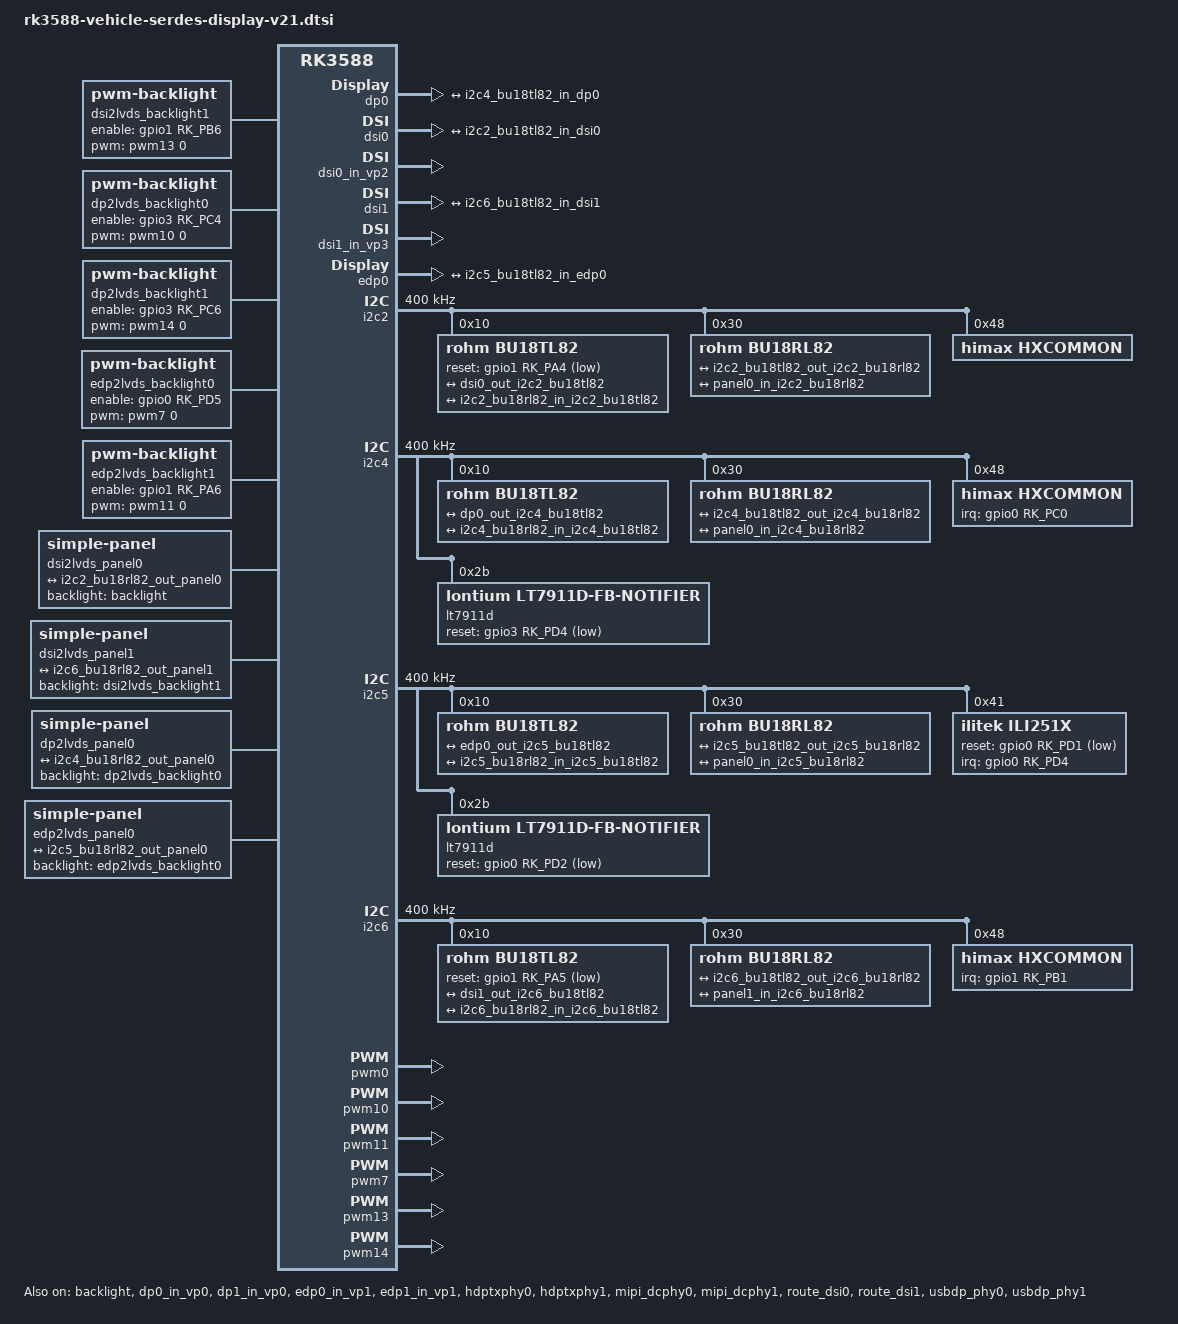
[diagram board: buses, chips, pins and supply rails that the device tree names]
// SPDX-License-Identifier: (GPL-2.0+ OR MIT)
/*
 * Copyright (c) 2023 Rockchip Electronics Co., Ltd.
 *
 */

/ {
	dsi2lvds_backlight1: dsi2lvds_backlight1 {
		compatible = "pwm-backlight";
		brightness-levels = <
			  0  20  20  21  21  22  22  23
			 23  24  24  25  25  26  26  27
			 27  28  28  29  29  30  30  31
			 31  32  32  33  33  34  34  35
			 35  36  36  37  37  38  38  39
			 40  41  42  43  44  45  46  47
			 48  49  50  51  52  53  54  55
			 56  57  58  59  60  61  62  63
			 64  65  66  67  68  69  70  71
			 72  73  74  75  76  77  78  79
			 80  81  82  83  84  85  86  87
			 88  89  90  91  92  93  94  95
			 96  97  98  99 100 101 102 103
			104 105 106 107 108 109 110 111
			112 113 114 115 116 117 118 119
			120 121 122 123 124 125 126 127
			128 129 130 131 132 133 134 135
			136 137 138 139 140 141 142 143
			144 145 146 147 148 149 150 151
			152 153 154 155 156 157 158 159
			160 161 162 163 164 165 166 167
			168 169 170 171 172 173 174 175
			176 177 178 179 180 181 182 183
			184 185 186 187 188 189 190 191
			192 193 194 195 196 197 198 199
			200 201 202 203 204 205 206 207
			208 209 210 211 212 213 214 215
			216 217 218 219 220 221 222 223
			224 225 226 227 228 229 230 231
			232 233 234 235 236 237 238 239
			240 241 242 243 244 245 246 247
			248 249 250 251 252 253 254 255
		>;
		default-brightness-level = <200>;
	};

	dp2lvds_backlight0: dp2lvds_backlight0 {
		compatible = "pwm-backlight";
		brightness-levels = <
			  0  20  20  21  21  22  22  23
			 23  24  24  25  25  26  26  27
			 27  28  28  29  29  30  30  31
			 31  32  32  33  33  34  34  35
			 35  36  36  37  37  38  38  39
			 40  41  42  43  44  45  46  47
			 48  49  50  51  52  53  54  55
			 56  57  58  59  60  61  62  63
			 64  65  66  67  68  69  70  71
			 72  73  74  75  76  77  78  79
			 80  81  82  83  84  85  86  87
			 88  89  90  91  92  93  94  95
			 96  97  98  99 100 101 102 103
			104 105 106 107 108 109 110 111
			112 113 114 115 116 117 118 119
			120 121 122 123 124 125 126 127
			128 129 130 131 132 133 134 135
			136 137 138 139 140 141 142 143
			144 145 146 147 148 149 150 151
			152 153 154 155 156 157 158 159
			160 161 162 163 164 165 166 167
			168 169 170 171 172 173 174 175
			176 177 178 179 180 181 182 183
			184 185 186 187 188 189 190 191
			192 193 194 195 196 197 198 199
			200 201 202 203 204 205 206 207
			208 209 210 211 212 213 214 215
			216 217 218 219 220 221 222 223
			224 225 226 227 228 229 230 231
			232 233 234 235 236 237 238 239
			240 241 242 243 244 245 246 247
			248 249 250 251 252 253 254 255
		>;
		default-brightness-level = <200>;
	};

	dp2lvds_backlight1: dp2lvds_backlight1 {
		compatible = "pwm-backlight";
		brightness-levels = <
			  0  20  20  21  21  22  22  23
			 23  24  24  25  25  26  26  27
			 27  28  28  29  29  30  30  31
			 31  32  32  33  33  34  34  35
			 35  36  36  37  37  38  38  39
			 40  41  42  43  44  45  46  47
			 48  49  50  51  52  53  54  55
			 56  57  58  59  60  61  62  63
			 64  65  66  67  68  69  70  71
			 72  73  74  75  76  77  78  79
			 80  81  82  83  84  85  86  87
			 88  89  90  91  92  93  94  95
			 96  97  98  99 100 101 102 103
			104 105 106 107 108 109 110 111
			112 113 114 115 116 117 118 119
			120 121 122 123 124 125 126 127
			128 129 130 131 132 133 134 135
			136 137 138 139 140 141 142 143
			144 145 146 147 148 149 150 151
			152 153 154 155 156 157 158 159
			160 161 162 163 164 165 166 167
			168 169 170 171 172 173 174 175
			176 177 178 179 180 181 182 183
			184 185 186 187 188 189 190 191
			192 193 194 195 196 197 198 199
			200 201 202 203 204 205 206 207
			208 209 210 211 212 213 214 215
			216 217 218 219 220 221 222 223
			224 225 226 227 228 229 230 231
			232 233 234 235 236 237 238 239
			240 241 242 243 244 245 246 247
			248 249 250 251 252 253 254 255
		>;
		default-brightness-level = <200>;
	};

	edp2lvds_backlight0: edp2lvds_backlight0 {
		compatible = "pwm-backlight";
		brightness-levels = <
			  0  20  20  21  21  22  22  23
			 23  24  24  25  25  26  26  27
			 27  28  28  29  29  30  30  31
			 31  32  32  33  33  34  34  35
			 35  36  36  37  37  38  38  39
			 40  41  42  43  44  45  46  47
			 48  49  50  51  52  53  54  55
			 56  57  58  59  60  61  62  63
			 64  65  66  67  68  69  70  71
			 72  73  74  75  76  77  78  79
			 80  81  82  83  84  85  86  87
			 88  89  90  91  92  93  94  95
			 96  97  98  99 100 101 102 103
			104 105 106 107 108 109 110 111
			112 113 114 115 116 117 118 119
			120 121 122 123 124 125 126 127
			128 129 130 131 132 133 134 135
			136 137 138 139 140 141 142 143
			144 145 146 147 148 149 150 151
			152 153 154 155 156 157 158 159
			160 161 162 163 164 165 166 167
			168 169 170 171 172 173 174 175
			176 177 178 179 180 181 182 183
			184 185 186 187 188 189 190 191
			192 193 194 195 196 197 198 199
			200 201 202 203 204 205 206 207
			208 209 210 211 212 213 214 215
			216 217 218 219 220 221 222 223
			224 225 226 227 228 229 230 231
			232 233 234 235 236 237 238 239
			240 241 242 243 244 245 246 247
			248 249 250 251 252 253 254 255
		>;
		default-brightness-level = <200>;
	};

	edp2lvds_backlight1: edp2lvds_backlight1 {
		compatible = "pwm-backlight";
		brightness-levels = <
			  0  20  20  21  21  22  22  23
			 23  24  24  25  25  26  26  27
			 27  28  28  29  29  30  30  31
			 31  32  32  33  33  34  34  35
			 35  36  36  37  37  38  38  39
			 40  41  42  43  44  45  46  47
			 48  49  50  51  52  53  54  55
			 56  57  58  59  60  61  62  63
			 64  65  66  67  68  69  70  71
			 72  73  74  75  76  77  78  79
			 80  81  82  83  84  85  86  87
			 88  89  90  91  92  93  94  95
			 96  97  98  99 100 101 102 103
			104 105 106 107 108 109 110 111
			112 113 114 115 116 117 118 119
			120 121 122 123 124 125 126 127
			128 129 130 131 132 133 134 135
			136 137 138 139 140 141 142 143
			144 145 146 147 148 149 150 151
			152 153 154 155 156 157 158 159
			160 161 162 163 164 165 166 167
			168 169 170 171 172 173 174 175
			176 177 178 179 180 181 182 183
			184 185 186 187 188 189 190 191
			192 193 194 195 196 197 198 199
			200 201 202 203 204 205 206 207
			208 209 210 211 212 213 214 215
			216 217 218 219 220 221 222 223
			224 225 226 227 228 229 230 231
			232 233 234 235 236 237 238 239
			240 241 242 243 244 245 246 247
			248 249 250 251 252 253 254 255
		>;
		default-brightness-level = <200>;
	};

	dsi2lvds_panel0 {
		compatible = "simple-panel";
		backlight = <&backlight>;

		display-timings {
			native-mode = <&dsi2lvds0>;
			dsi2lvds0: timing0 {
				clock-frequency = <115200000>;//115200000/105573600
				hactive = <1920>;
				vactive = <720>;
				hfront-porch = <56>;
				hsync-len = <32>;
				hback-porch = <56>;
				vfront-porch = <200>;
				vsync-len = <2>;
				vback-porch = <8>;
				hsync-active = <0>;
				vsync-active = <0>;
				de-active = <0>;
				pixelclk-active = <0>;
			};
		};

		ports {
			#address-cells = <1>;
			#size-cells = <0>;

			port@0 {
				reg = <0>;
				panel0_in_i2c2_bu18rl82: endpoint {
					remote-endpoint = <&i2c2_bu18rl82_out_panel0>;
				};
			};
		};
	};

	dsi2lvds_panel1 {
		compatible = "simple-panel";
		backlight = <&dsi2lvds_backlight1>;

		display-timings {
			native-mode = <&dsi2lvds1>;
			dsi2lvds1: timing0 {
				clock-frequency = <115200000>;
				hactive = <1920>;
				vactive = <720>;
				hfront-porch = <56>;
				hsync-len = <32>;
				hback-porch = <56>;
				vfront-porch = <200>;
				vsync-len = <2>;
				vback-porch = <8>;
				hsync-active = <0>;
				vsync-active = <0>;
				de-active = <0>;
				pixelclk-active = <0>;
			};
		};

		ports {
			#address-cells = <1>;
			#size-cells = <0>;

			port@0 {
				reg = <0>;
				panel1_in_i2c6_bu18rl82: endpoint {
					remote-endpoint = <&i2c6_bu18rl82_out_panel1>;
				};
			};
		};
	};

	dp2lvds_panel0 {
		compatible = "simple-panel";
		backlight = <&dp2lvds_backlight0>;
		status = "okay";

		panel-timing {
			clock-frequency = <115200000>;
			hactive = <1920>;
			vactive = <720>;
			hfront-porch = <56>;
			hsync-len = <32>;
			hback-porch = <56>;
			vfront-porch = <200>;
			vsync-len = <2>;
			vback-porch = <8>;
			hsync-active = <0>;
			vsync-active = <0>;
			de-active = <0>;
			pixelclk-active = <0>;
		};

		port {
			panel0_in_i2c4_bu18rl82: endpoint {
				remote-endpoint = <&i2c4_bu18rl82_out_panel0>;
			};
		};
	};

	dp2lvds_panel1 {
		compatible = "simple-panel";
		backlight = <&dp2lvds_backlight1>;
		status = "disabled";

		panel-timing {
			clock-frequency = <148500000>;
			hactive = <1920>;
			vactive = <1080>;
			hfront-porch = <140>;
			hsync-len = <40>;
			hback-porch = <100>;
			vfront-porch = <15>;
			vsync-len = <20>;
			vback-porch = <10>;
			hsync-active = <0>;
			vsync-active = <0>;
			de-active = <0>;
			pixelclk-active = <0>;
		};

		port {
			panel1_in_i2c8_bu18rl82: endpoint {
				remote-endpoint = <&i2c8_bu18rl82_out_panel1>;
			};
		};
	};

	edp2lvds_panel0 {
		compatible = "simple-panel";
		backlight = <&edp2lvds_backlight0>;
		status = "okay";

		panel-timing {
			clock-frequency = <148500000>;
			hactive = <1920>;
			vactive = <1080>;
			hfront-porch = <140>;
			hsync-len = <40>;
			hback-porch = <100>;
			vfront-porch = <15>;
			vsync-len = <20>;
			vback-porch = <10>;
			hsync-active = <0>;
			vsync-active = <0>;
			de-active = <0>;
			pixelclk-active = <0>;
		};

		port {
			panel0_in_i2c5_bu18rl82: endpoint {
				remote-endpoint = <&i2c5_bu18rl82_out_panel0>;
			};
		};
	};

	edp2lvds_panel1 {
		compatible = "simple-panel";
		backlight = <&edp2lvds_backlight1>;
		status = "disabled";

		panel-timing {
			clock-frequency = <148500000>;
			hactive = <1920>;
			vactive = <1080>;
			hfront-porch = <140>;
			hsync-len = <40>;
			hback-porch = <100>;
			vfront-porch = <15>;
			vsync-len = <20>;
			vback-porch = <10>;
			hsync-active = <0>;
			vsync-active = <0>;
			de-active = <0>;
			pixelclk-active = <0>;
		};

		port {
			panel1_in_i2c7_bu18rl82: endpoint {
				remote-endpoint = <&i2c7_bu18rl82_out_panel1>;
			};
		};
	};
};

&backlight {
	pwms = <&pwm0 0 25000 0>;
	pinctrl-names = "default";
	pinctrl-0 = <&bl0_enable_pin>;
	enable-gpios = <&gpio1 RK_PA7 GPIO_ACTIVE_HIGH>;
	status = "okay";
};

&dsi2lvds_backlight1 {
	pwms = <&pwm13 0 25000 0>;
	pinctrl-names = "default";
	pinctrl-0 = <&bl1_enable_pin>;
	enable-gpios = <&gpio1 RK_PB6 GPIO_ACTIVE_HIGH>;
	status = "okay";
};

&dp0 {
	//split-mode;
	force-hpd;
	status = "okay";

	ports {
		port@1 {
			reg = <1>;

			dp0_out_i2c4_bu18tl82: endpoint {
				remote-endpoint = <&i2c4_bu18tl82_in_dp0>;
			};
		};
	};
};

&dp0_in_vp0 {
	status = "okay";
};

&dp0_in_vp1 {
	status = "disabled";
};

&dp0_in_vp2 {
	status = "disabled";
};

&dp1 {
	force-hpd;
	status = "disabled";

	ports {
		port@1 {
			reg = <1>;

			dp1_out_i2c8_bu18tl82: endpoint {
				remote-endpoint = <&i2c8_bu18tl82_in_dp1>;
			};
		};
	};
};

&dp1_in_vp0 {
	status = "okay";
};

&dp1_in_vp1 {
	status = "disabled";
};

&dp1_in_vp2 {
	status = "disabled";
};

&dp2lvds_backlight0 {
	pwms = <&pwm10 0 25000 0>;
	pinctrl-names = "default";
	pinctrl-0 = <&bl2_enable_pin>;
	enable-gpios = <&gpio3 RK_PC4 GPIO_ACTIVE_HIGH>;
	status = "okay";
};

&dp2lvds_backlight1 {
	pwms = <&pwm14 0 25000 0>;
	pinctrl-names = "default";
	pinctrl-0 = <&bl3_enable_pin>;
	enable-gpios = <&gpio3 RK_PC6 GPIO_ACTIVE_HIGH>;
	status = "okay";
};

/*
 * mipi_dcphy0 needs to be enabled
 * when dsi0 is enabled
 */
&dsi0 {
	status = "okay";

	ports {
		#address-cells = <1>;
		#size-cells = <0>;

		port@1 {
			reg = <1>;

			dsi0_out_i2c2_bu18tl82: endpoint {
				remote-endpoint = <&i2c2_bu18tl82_in_dsi0>;
			};
		};
	};
};

&dsi0_in_vp2 {
	status = "okay";
};

&dsi0_in_vp3 {
	status = "disabled";
};

/*
 * mipi_dcphy1 needs to be enabled
 * when dsi1 is enabled
 */
&dsi1 {
	status = "okay";

	ports {
		#address-cells = <1>;
		#size-cells = <0>;

		port@1 {
			reg = <1>;

			dsi1_out_i2c6_bu18tl82: endpoint {
				remote-endpoint = <&i2c6_bu18tl82_in_dsi1>;
			};
		};
	};
};

&dsi1_in_vp2 {
	status = "disabled";
};

&dsi1_in_vp3 {
	status = "okay";
};

&edp0 {
	//split-mode;
	force-hpd;
	status = "okay";

	ports {
		port@1 {
			reg = <1>;

			edp0_out_i2c5_bu18tl82: endpoint {
				remote-endpoint = <&i2c5_bu18tl82_in_edp0>;
			};
		};
	};
};

&edp0_in_vp0 {
	status = "disabled";
};

&edp0_in_vp1 {
	status = "okay";
};

&edp0_in_vp2 {
	status = "disabled";
};

&edp1 {
	force-hpd;
	status = "disabled";

	ports {
		port@1 {
			reg = <1>;

			edp1_out_i2c7_bu18tl82: endpoint {
				remote-endpoint = <&i2c7_bu18tl82_in_edp1>;
			};
		};
	};
};

&edp1_in_vp0 {
	status = "disabled";
};

&edp1_in_vp1 {
	status = "okay";
};

&edp1_in_vp2 {
	status = "disabled";
};

&edp2lvds_backlight0 {
	pwms = <&pwm7 0 25000 0>;
	pinctrl-names = "default";
	pinctrl-0 = <&bl4_enable_pin>;
	enable-gpios = <&gpio0 RK_PD5 GPIO_ACTIVE_HIGH>;
	status = "okay";
};

&edp2lvds_backlight1 {
	pwms = <&pwm11 0 25000 0>;
	pinctrl-names = "default";
	pinctrl-0 = <&bl5_enable_pin>;
	enable-gpios = <&gpio1 RK_PA6 GPIO_ACTIVE_HIGH>;
	status = "okay";
};

&hdmi0 {
	status = "disabled";
};

&hdmi1 {
	status = "disabled";
};

&hdptxphy0 {
	status = "okay";
};

&hdptxphy1 {
	status = "okay";
};

&hdptxphy_hdmi0 {
	status = "disabled";
};

&hdptxphy_hdmi1 {
	status = "disabled";
};

&i2c2 {
	status = "okay";
	pinctrl-names = "default";
	pinctrl-0 = <&i2c2m4_xfer>;
	clock-frequency = <400000>;

	bu18tl82: bu18tl82@10 {
		compatible = "rohm,bu18tl82";
		reg = <0x10>;
		pinctrl-names = "default";
		pinctrl-0 = <&ser0_rst_pin>;
		reset-gpios = <&gpio1 RK_PA4 GPIO_ACTIVE_LOW>;
		sel-mipi;
		status = "okay";

		serdes-init-sequence = [
			0013 0019
			0014 0008	//014h[3]-lane1 enable
			0021 0008
			0023 0009
			0024 0009
			022b 0038
			022c 0072
			022d 0023	//VPLL=75MHZS
			//022b 00d8
			//022c 0089
			//022d 003d	//VPLL=99MHz (ref26MHz) 4032984*26/1024x1024=99M
			022e 0080
			027c 0048
			027d 0048	//i2c addr 0x48
			0296 0004
			0297 0009	//CLLTX0_PLL_GAIN 297h[3:2] 1001 2'b10: 1.2~2.3 Gbps/lane
			//0297 000d	//CLLTX0_PLL_GAIN 297h[3:2] 1101 2'b11: 2.2~3.6 Gbps/lane
			0018 00a5
			0019 0069
			0267 003d
			0268 002c
			0269 002c
			026a 002c
			026b 002c
			0367 003d
			0368 002c
			0369 002c
			036a 002c
			036b 002c
			0018 0000
			0019 0000
			002a 0018	//gpio0 input		lcd_bl_pwm
			002d 0018	//gpio1 input		lcd_pwr_en

			0030 0018	//gpio2 input		lcd_rst
			0033 0018	//gpio3 input		tp_rst
			0034 0005	//bypass des gpio3
			0036 0000	//gpio4 output		tp_int
			0037 0006	//bypass des gpio4

			02a7 0002
			02a8 0003
			02a9 0004
			02aa 0005
			0045 0080
			0046 0007	//1920
			004b 00d0
			004c 0002	//720
			004d 00d0
			004e 0002	//720
			0051 0080
			0052 0007	//1920
			0053 0024	//CLLCH2_EN 53h[5] 0:1 Clock Tx lane/1:2 Clock Tx lanes
			0054 0080
			024d 0061
			0252 0005
			0274 0030	//I2C slave address of BU18RL82 for accessing via BU18TL82
			0275 0020
			0396 0004
			0397 0009	//CLLTX0_PLL_GAIN 397h[3:2] 1001 2'b10: 1.2~2.31 Gbps/lane
			//0397 000d	//CLLTX0_PLL_GAIN 397h[3:2] 1101 2'b11: 2.2~3.60 Gbps/lane
			0061 0003	//CLLTX0 enable CLLTX1 enable
			0060 0003	//CLLTX0/1 RGB data output Enable
			/* TL82 Pattern Gen Set 1
			 * Horizontal Gray Scale 256 steps
			 */
			040A 0010
			040B 0080
			040C 0080
			040D 0080
			0444 0090
			0446 00d2
		];

		ports {
			#address-cells = <1>;
			#size-cells = <0>;

			port@0 {
				reg = <0>;

				i2c2_bu18tl82_in_dsi0: endpoint {
					remote-endpoint = <&dsi0_out_i2c2_bu18tl82>;
				};
			};

			port@1 {
				reg = <1>;

				i2c2_bu18tl82_out_i2c2_bu18rl82: endpoint {
					remote-endpoint = <&i2c2_bu18rl82_in_i2c2_bu18tl82>;
				};
			};
		};
	};

	bu18rl82: bu18rl82@30 {
		compatible = "rohm,bu18rl82";
		reg = <0x30>;
		status = "okay";
		serdes-init-sequence = [
			0011 0003	//Clockless Link Receiver Lane-0+ LVDS portA
			0012 0003	//Clockless Link Receiver Lane-1+ LVDS portB
			0013 0000
			001d 0008
			001f 0002	//LVDSTX0_REFSEL
			0020 0002	//LVDSTX1_REFSEL
			0031 0048
			0032 0048	//i2c addr 0x48
			0423 0000
			0424 0000
			0425 0020
			0426 0080
			0057 0000
			0058 0002
			0057 0000	//rl gpio0 output	lcd_bl_pwm
			0058 0002	//bypass ser gpio0
			005a 0000	//rl gpio1 output	lcd_pwr_en
			005b 0003	//bypass ser gpio1
			005d 0000	//rl gpio2 output	lcd_rst
			005e 0004	//bypass ser gpio2
			0060 0000	//rl gpio3 output	tp-rst
			0061 0005	//bypass ser gpio3
			0063 0018	//rl gpio4 input	tp-int
			0064 0006	//bypass ser gpio4
			0066 0000	//rl gpio5 output
			0067 0001	//set gpio5 high

			0073 0080
			0074 0007	//0x0780 = 1920
			0075 0080
			0076 0007	//0x0780 = 1920
			0079 000a	//h[3]: dual lvds mode h[1] single lane / dual lane
			007b 00d0
			007c 0002	//0x02d0 = 720
			007d 00d0
			007e 0002	//0x02d0 = 720
			0081 0003	//01---> Sync OFF
			0082 0010	//Hsync=16clk
			0084 001c	//HBP=28clk
			0086 0002	//Vsync=2lines
			0087 0008	//VBP=8lines
			0088 0000	//VSYNC_CHG=0CLK
			0089 0010	//Hsync = 16?
			008b 001c	//HFP=28clk?
			008d 0002	//Vsync=2lines?
			008e 0008	//VFP=8line?
			008f 0000	//VSYNC_CHG=0CLK?
			00d0 0040	//[3]FixHtotalEN
			00d8 00c0
			00d9 0003	//DE=960
			0429 000a	//LVDSTX0_PLLGAIN 2'b10: 30 MHz ~ 80 MHz
			045d 0001
			0529 000a	//LVDSTX1_PLLGAIN 2'b10: 30 MHz ~ 80 MHz
			055d 0001
			0091 0003
			0090 0001
			/* RL82 Pattern Gen Set
			 * Vertical Gray Scale Color Bar
			 */
			060A 00B0
			060B 00FF
			060C 00FF
			060D 00FF
			0644 0090
			0646 00d2
		];

		ports {
			#address-cells = <1>;
			#size-cells = <0>;

			port@0 {
				reg = <0>;

				i2c2_bu18rl82_in_i2c2_bu18tl82: endpoint {
					remote-endpoint = <&i2c2_bu18tl82_out_i2c2_bu18rl82>;
				};
			};

			port@1 {
				reg = <1>;

				i2c2_bu18rl82_out_panel0: endpoint {
					remote-endpoint = <&panel0_in_i2c2_bu18rl82>;
				};
			};
		};
	};

	himax@48 {
		compatible = "himax,hxcommon";
		reg = <0x48>;
		pinctrl-names = "default", "sleep";
		pinctrl-0 = <&touch_gpio_dsi0>;
		pinctrl-1 = <&touch_gpio_dsi0>;
		himax,location = "himax-touch-dsi0";
		//himax,irq-gpio = <&gpio1 RK_PB0 IRQ_TYPE_EDGE_FALLING>;
		himax,panel-coords = <0 1920 0 720>;
		himax,display-coords = <0 1920 0 720>;
		status = "okay";
	};
};

&i2c4 {
	pinctrl-names = "default";
	pinctrl-0 = <&i2c4m2_xfer>;
	clock-frequency = <400000>;
	status = "okay";

	bu18tl82@10 {
		compatible = "rohm,bu18tl82";
		reg = <0x10>;
		status = "okay";

		serdes-init-sequence = [
			0013 001a	//013h[3]1-lane1 enable 013h[3] 1-LVDS Receiver Port-A
			0014 000a	//014h[3]1-lane1 enable 014h[3] 1-LVDS Receiver Port-B
			0021 0008
			0023 0009
			0024 0009
			022b 0038
			022c 0072
			022d 0023	//VPLL=75MHZS
			//022b 00d8
			//022c 0089
			//022d 003d	//VPLL=99MHz (ref26MHz) 4032984*26/1024x1024=99M
			022e 0080
			027c 0048
			027d 0048	//i2c addr 0x48
			0296 0004
			0297 0009	//CLLTX0_PLL_GAIN 397h[3:2] 1001 2'b10: 1.2~2.31 Gbps/lane
			//0297 000d	//CLLTX0_PLL_GAIN 297h[3:2] 1101 2'b11: 2.2~3.60 Gbps/lane
			0018 00a5
			0019 0069
			0267 003d
			0268 002c
			0269 002c
			026a 002c
			026b 002c
			0367 003d
			0368 002c
			0369 002c
			036a 002c
			036b 002c
			0018 0000
			0019 0000
			002a 0018	//gpio0 input		lcd_bl_pwm
			002d 0018	//gpio1 input		lcd_pwr_en

			0030 0018	//gpio2 input		lcd_rst
			0033 0018	//gpio3 input		tp_rst
			0034 0005	//bypass des gpio3
			0036 0000	//gpio4 output		tp_int
			0037 0006	//bypass des gpio4

			02a7 0002
			02a8 0003
			02a9 0004
			02aa 0005
			0045 0080
			0046 0007	//1920
			004b 00d0
			004c 0002	//720
			004d 00d0
			004e 0002	//720
			0051 0080
			0052 0007	//1920
			0053 0064	//0053h[6]1:2 Rx ports CLLCH2_EN 53h[5] 1:2 Clock Tx lanes
			024d 0061
			0252 0005
			0274 0030
			0275 0020
			0396 0004
			0397 0009	//CLLTX0_PLL_GAIN 397h[3:2] 1001 2'b10: 1.2~2.3 Gbps/lane
			//0397 000d	//CLLTX0_PLL_GAIN 397h[3:2] 1101 2'b11: 2.2~3.6 Gbps/lane
			0061 0003	//CLLTX0 enable CLLTX1 enable
			0060 0003	//CLLTX0/1 RGB data output Enable
			/* TL82 Pattern Gen Set 1
			 * Horizontal Gray Scale 256 steps
			 */
			040A 0010
			040B 0080
			040C 0080
			040D 0080
			0444 0090	//h_blank=144
			0446 00d2	//v_blank=210
		];

		ports {
			#address-cells = <1>;
			#size-cells = <0>;

			port@0 {
				reg = <0>;

				i2c4_bu18tl82_in_dp0: endpoint {
					remote-endpoint = <&dp0_out_i2c4_bu18tl82>;
				};
			};

			port@1 {
				reg = <1>;

				i2c4_bu18tl82_out_i2c4_bu18rl82: endpoint {
					remote-endpoint = <&i2c4_bu18rl82_in_i2c4_bu18tl82>;
				};
			};
		};
	};

	bu18rl82@30 {
		compatible = "rohm,bu18rl82";
		reg = <0x30>;
		status = "okay";
		serdes-init-sequence = [
			0011 0003	//Clockless Link Receiver Lane-0+ LVDS portA
			0012 0003	//Clockless Link Receiver Lane-1+ LVDS portB
			0013 0000
			001d 0008
			001f 0002	//LVDSTX0_REFSEL
			0020 0002	//LVDSTX1_REFSEL
			0031 0048
			0032 0048	//i2c addr 0x48
			0423 0000
			0424 0000
			0425 0020
			0426 0080
			0057 0000
			0058 0002
			0057 0000	//rl gpio0 output	lcd_bl_pwm
			0058 0002	//bypass ser gpio0
			005a 0000	//rl gpio1 output	lcd_pwr_en
			005b 0003	//bypass ser gpio1
			005d 0000	//rl gpio2 output	lcd_rst
			005e 0004	//bypass ser gpio2
			0060 0000	//rl gpio3 output	tp-rst
			0061 0005	//bypass ser gpio3
			0063 0018	//rl gpio4 input	tp-int
			0064 0006	//bypass ser gpio4
			0066 0000	//rl gpio5 output
			0067 0001	//set gpio5 high

			0073 0080
			0074 0007	//0x0780 = 1920
			0075 0080
			0076 0007	//0x0780 = 1920
			0079 000a	//h[3]: dual lvds mode h[1] single lane / dual lane
			007b 00d0
			007c 0002	//0x02d0 = 720
			007d 00d0
			007e 0002	//0x02d0 = 720
			0081 0003	//01---> Sync OFF
			0082 0010	//Hsync=16clk
			0084 001c	//HBP=28clk
			0086 0002	//Vsync=2lines
			0087 0008	//VBP=8lines
			0088 0000	//VSYNC_CHG=0CLK
			0089 0010	//Hsync = 16?
			008b 001c	//HFP=28clk?
			008d 0002	//Vsync=2lines?
			008e 0008	//VFP=8line?
			008f 0000	//VSYNC_CHG=0CLK?
			00d0 0040	//[3]FixHtotalEN
			00d8 00c0
			00d9 0003	//DE=960
			0429 000a	//LVDSTX0_PLLGAIN 2'b10: 30 MHz ~ 80 MHz
			045d 0001
			0529 000a	//LVDSTX1_PLLGAIN 2'b10: 30 MHz ~ 80 MHz
			055d 0001
			0091 0003
			0090 0001
			/* RL82 Pattern Gen Set
			 * Vertical Gray Scale Color Bar
			 */
			060A 00B0
			060B 00FF
			060C 00FF
			060D 00FF
			0644 0090
			0646 00d2
		];

		ports {
			#address-cells = <1>;
			#size-cells = <0>;

			port@0 {
				reg = <0>;

				i2c4_bu18rl82_in_i2c4_bu18tl82: endpoint {
					remote-endpoint = <&i2c4_bu18tl82_out_i2c4_bu18rl82>;
				};
			};

			port@1 {
				reg = <1>;

				i2c4_bu18rl82_out_panel0: endpoint {
					remote-endpoint = <&panel0_in_i2c4_bu18rl82>;
				};
			};
		};
	};

	himax@48 {
		compatible = "himax,hxcommon";
		reg = <0x48>;
		pinctrl-names = "default", "sleep";
		pinctrl-0 = <&touch_gpio_dp0>;
		pinctrl-1 = <&touch_gpio_dp0>;
		himax,location = "himax-touch-dp0";
		himax,irq-gpio = <&gpio0 RK_PC0 IRQ_TYPE_EDGE_FALLING>;
		himax,panel-coords = <0 1920 0 720>;
		himax,display-coords = <0 1920 0 720>;
		status = "okay";
	};

	lt7911d@2b {
		compatible = "lontium,lt7911d-fb-notifier";
		reg = <0x2b>;
		reset-gpios = <&gpio3 RK_PD4 GPIO_ACTIVE_LOW>;
		status = "okay";
	};
};

&i2c5 {
	clock-frequency = <400000>;
	status = "okay";

	bu18tl82@10 {
		compatible = "rohm,bu18tl82";
		reg = <0x10>;
		status = "okay";

		serdes-init-sequence = [
			0013 001a
			0014 000a
			0021 0008
			0023 0009
			0024 0009
			002a 0018	//gpio0 input		lcd_bl_pwm
			002d 0018	//gpio1 input		lcd_pwr_en

			0030 0018	//gpio2 input		lcd_rst
			0033 0000	//gpio3 output		tp_int
			0034 0005	//bypass des gpio3
			0036 0018	//gpio4 input		tp_rst
			0037 0006	//bypass des gpio4
			027c 0041
			027d 0041
			0045 0080
			0046 0007
			004b 0038
			004c 0004
			0053 0064
			022b 0062
			022c 0027
			022d 002e
			0274 0030
			0275 0020
			0296 0004
			0297 000d
			02b2 00c8
			02b4 0001
			02b8 00ff
			02b9 000f
			02ba 00ff
			02bb 000f
			02be 00ff
			02bf 001f
			02c2 00ff
			02c3 001f
			0396 0004
			0397 000d
			03b2 00c8
			03b4 0001
			03b8 00ff
			03b9 000f
			03ba 00ff
			03bb 000f
			03be 00ff
			03bf 001f
			03c2 00ff
			03c3 001f
			0060 0001
			0061 0003
			022e 0080
			032e 0080
			/* TL82 Pattern Gen Set 1
			 * Horizontal Gray Scale 256 steps
			 */
			040A 0010
			040B 0080
			040C 0080
			040D 0080
			0444 0019
			0445 0020
			0446 001f
		];

		ports {
			#address-cells = <1>;
			#size-cells = <0>;

			port@0 {
				reg = <0>;

				i2c5_bu18tl82_in_edp0: endpoint {
					remote-endpoint = <&edp0_out_i2c5_bu18tl82>;
				};
			};

			port@1 {
				reg = <1>;

				i2c5_bu18tl82_out_i2c5_bu18rl82: endpoint {
					remote-endpoint = <&i2c5_bu18rl82_in_i2c5_bu18tl82>;
				};
			};
		};
	};

	bu18rl82@30 {
		compatible = "rohm,bu18rl82";
		reg = <0x30>;
		status = "okay";
		serdes-init-sequence = [
			0011 000b
			0012 0003
			0013 0001
			001d 0008
			001f 0002
			0020 0002
			0031 0041	//i2c addr 0x41
			0032 0041	//i2c addr 0x41
			0057 0000	//rl gpio0 output	lcd_bl_pwm
			0058 0002	//bypass ser gpio0
			005a 0000	//rl gpio1 output	lcd_pwr_en
			005b 0001	//bypass ser gpio1
			005d 0000	//rl gpio2 output	lcd_rst
			005e 0004	//bypass ser gpio2
			0060 0018	//rl gpio3 input	tp-int
			042e 0005	//bypass ser gpio3
			0061 0005	//bypass ser gpio3
			0063 0000	//rl gpio4 output	tp-rst
			042f 0006	//bypass ser gpio4
			0064 0006	//bypass ser gpio4
			0066 0000	//rl gpio5 output
			0067 0007	//bypass ser gpio5
			0073 0080
			0074 0007
			0079 000a
			007b 0038
			007c 0004
			0081 0003
			0082 0010
			0084 0020
			0086 0002
			0087 0002
			0088 0010
			0089 0010
			008b 0020
			008d 0002
			008e 0002
			008f 0010
			00d0 0040
			00d8 0042
			00d9 0004
			0423 0002
			0424 00ec
			0425 0027
			0429 000a
			045d 0001
			0529 000a
			055d 0003
			0090 0001
			0091 0003
			0426 0080
			042d 0004
			/* RL82 Pattern Gen Set
			 * Vertical Gray Scale Color Bar
			 */
			060A 00B0
			060B 00FF
			060C 00FF
			060D 00FF
			0644 0019
			0645 0020
			0646 001f
		];

		ports {
			#address-cells = <1>;
			#size-cells = <0>;

			port@0 {
				reg = <0>;

				i2c5_bu18rl82_in_i2c5_bu18tl82: endpoint {
					remote-endpoint = <&i2c5_bu18tl82_out_i2c5_bu18rl82>;
				};
			};

			port@1 {
				reg = <1>;

				i2c5_bu18rl82_out_panel0: endpoint {
					remote-endpoint = <&panel0_in_i2c5_bu18rl82>;
				};
			};
		};
	};

	ilitek@41 {
		compatible = "ilitek,ili251x";
		reg = <0x41>;
		interrupt-parent = <&gpio0>;
		interrupts = <RK_PD4 IRQ_TYPE_LEVEL_LOW>;
		pinctrl-names = "default";
		pinctrl-0 = <&touch_gpio_edp0>;
		reset-gpio = <&gpio0 RK_PD1 GPIO_ACTIVE_LOW>;
		ilitek,name = "ilitek_i2c";
		status = "okay";
	};

	lt7911d@2b {
		compatible = "lontium,lt7911d-fb-notifier";
		reg = <0x2b>;
		reset-gpios = <&gpio0 RK_PD2 GPIO_ACTIVE_LOW>;
		status = "okay";
	};
};

&i2c6 {
	status = "okay";
	pinctrl-names = "default";
	pinctrl-0 = <&i2c6m3_xfer>;
	clock-frequency = <400000>;

	bu18tl82@10 {
		compatible = "rohm,bu18tl82";
		reg = <0x10>;
		pinctrl-names = "default";
		pinctrl-0 = <&ser1_rst_pin>;
		reset-gpios = <&gpio1 RK_PA5 GPIO_ACTIVE_LOW>;
		sel-mipi;
		status = "okay";
		serdes-init-sequence = [
			0013 0019
			0014 0008	//014h[3]-lane1 enable
			0021 0008
			0023 0009
			0024 0009
			022b 0038
			022c 0072
			022d 0023	//VPLL=75MHZS
			//022b 00d8
			//022c 0089
			//022d 003d	//VPLL=99MHz (ref26MHz) 4032984*26/1024x1024=99M
			022e 0080
			027c 0048
			027d 0048	//i2c addr 0x48
			0296 0004
			0297 0009	//CLLTX0_PLL_GAIN 397h[3:2] 1001 2'b10: 1.2~2.3 Gbps/lane
			//0297 000d	//CLLTX0_PLL_GAIN 297h[3:2] 1101 2'b11: 2.2~3.6 Gbps/lane
			0018 00a5
			0019 0069
			0267 003d
			0268 002c
			0269 002c
			026a 002c
			026b 002c
			0367 003d
			0368 002c
			0369 002c
			036a 002c
			036b 002c
			0018 0000
			0019 0000
			002a 0018	//gpio0 input		lcd_bl_pwm
			002d 0018	//gpio1 input		lcd_pwr_en

			0030 0018	//gpio2 input		lcd_rst
			0033 0018	//gpio3 input		tp_rst
			0034 0005	//bypass des gpio3
			0036 0000	//gpio4 output		tp_int
			0037 0006	//bypass des gpio4

			02a7 0002
			02a8 0003
			02a9 0004
			02aa 0005
			0045 0080
			0046 0007	//1920
			004b 00d0
			004c 0002	//720
			004d 00d0
			004e 0002	//720
			0051 0080
			0052 0007	//1920
			0053 0024	//CLLCH2_EN 53h[5] 0:1 Clock Tx lane/1:2 Clock Tx lanes
			0054 0080
			024d 0061
			0252 0005
			0274 0030
			0275 0020
			0396 0004
			0397 0009	//CLLTX0_PLL_GAIN 397h[3:2] 1001 2'b10: 1.2~2.3 Gbps/lane
			//0397 000d	//CLLTX0_PLL_GAIN 397h[3:2] 1101 2'b11: 2.2~3.6 Gbps/lane
			0061 0003	//CLLTX0 enable CLLTX1 enable
			0060 0003	//CLLTX0/1 RGB data output Enable
			/* TL82 Pattern Gen Set 1
			 * Horizontal Gray Scale 256 steps
			 */
			040A 0010
			040B 0080
			040C 0080
			040D 0080
			0444 0090	//h_blank=144
			0446 00d2	//v_blank=210


		];

		ports {
			#address-cells = <1>;
			#size-cells = <0>;

			port@0 {
				reg = <0>;

				i2c6_bu18tl82_in_dsi1: endpoint {
					remote-endpoint = <&dsi1_out_i2c6_bu18tl82>;
				};
			};

			port@1 {
				reg = <1>;

				i2c6_bu18tl82_out_i2c6_bu18rl82: endpoint {
					remote-endpoint = <&i2c6_bu18rl82_in_i2c6_bu18tl82>;
				};
			};
		};
	};

	bu18rl82@30 {
		compatible = "rohm,bu18rl82";
		reg = <0x30>;
		status = "okay";
		serdes-init-sequence = [
			0011 0003	//Clockless Link Receiver Lane-0+ LVDS portA
			0012 0003	//Clockless Link Receiver Lane-1+ LVDS portB
			0013 0000
			001d 0008
			001f 0002	//LVDSTX0_REFSEL
			0020 0002	//LVDSTX1_REFSEL
			0031 0048
			0032 0048	//i2c addr 0x48
			0423 0000
			0424 0000
			0425 0020
			0426 0080
			0057 0000
			0058 0002
			0057 0000	//rl gpio0 output	lcd_bl_pwm
			0058 0002	//bypass ser gpio0
			005a 0000	//rl gpio1 output	lcd_pwr_en
			005b 0003	//bypass ser gpio1
			005d 0000	//rl gpio2 output	lcd_rst
			005e 0004	//bypass ser gpio2
			0060 0000	//rl gpio3 output	tp-rst
			0061 0005	//bypass ser gpio3
			0063 0018	//rl gpio4 input	tp-int
			0064 0006	//bypass ser gpio4
			0066 0000	//rl gpio5 output
			0067 0001	//set gpio5 high

			0073 0080
			0074 0007	//0x0780 = 1920
			0075 0080
			0076 0007	//0x0780 = 1920
			0079 000a	//h[3]: dual lvds mode h[1] single lane / dual lane
			007b 00d0
			007c 0002	//0x02d0 = 720
			007d 00d0
			007e 0002	//0x02d0 = 720
			0081 0003	//01---> Sync OFF
			0082 0010	//Hsync=16clk
			0084 001c	//HBP=28clk
			0086 0002	//Vsync=2lines
			0087 0008	//VBP=8lines
			0088 0000	//VSYNC_CHG=0CLK
			0089 0010	//Hsync = 16?
			008b 001c	//HFP=28clk?
			008d 0002	//Vsync=2lines?
			008e 0008	//VFP=8line?
			008f 0000	//VSYNC_CHG=0CLK?
			00d0 0040	//[3]FixHtotalEN
			00d8 00c0
			00d9 0003	//DE=960
			0429 000a	//LVDSTX0_PLLGAIN 2'b10: 30 MHz ~ 80 MHz
			045d 0001
			0529 000a	//LVDSTX1_PLLGAIN 2'b10: 30 MHz ~ 80 MHz
			055d 0001
			0091 0003
			0090 0001
			/* RL82 Pattern Gen Set
			 * Vertical Gray Scale Color Bar
			 */
			060A 00B0
			060B 00FF
			060C 00FF
			060D 00FF
			0644 0090
			0646 00d2
		];

		ports {
			#address-cells = <1>;
			#size-cells = <0>;

			port@0 {
				reg = <0>;

				i2c6_bu18rl82_in_i2c6_bu18tl82: endpoint {
					remote-endpoint = <&i2c6_bu18tl82_out_i2c6_bu18rl82>;
				};
			};

			port@1 {
				reg = <1>;

				i2c6_bu18rl82_out_panel1: endpoint {
					remote-endpoint = <&panel1_in_i2c6_bu18rl82>;
				};
			};
		};
	};

	himax@48 {
		compatible = "himax,hxcommon";
		reg = <0x48>;
		pinctrl-names = "default", "sleep";
		pinctrl-0 = <&touch_gpio_dsi1>;
		pinctrl-1 = <&touch_gpio_dsi1>;
		himax,location = "himax-touch-dsi1";
		himax,irq-gpio = <&gpio1 RK_PB1 IRQ_TYPE_EDGE_FALLING>;
		himax,panel-coords = <0 1920 0 720>;
		himax,display-coords = <0 1920 0 720>;
		status = "okay";
	};
};

&i2c7 {
	pinctrl-names = "default";
	pinctrl-0 = <&i2c7m3_xfer>;
	clock-frequency = <400000>;
	status = "disabled";

	bu18tl82@10 {
		compatible = "rohm,bu18tl82";
		reg = <0x10>;
		status = "okay";

		serdes-init-sequence = [
			0013 001a
			0014 000a
			0021 0008
			0023 0009
			0024 0009
			002a 0018	//gpio0 input		lcd_bl_pwm
			002d 0018	//gpio1 input		lcd_pwr_en

			0030 0018	//gpio2 input		lcd_rst
			0033 0000	//gpio3 output		tp_int
			0034 0005	//bypass des gpio3
			0036 0018	//gpio4 input		tp_rst
			0037 0006	//bypass des gpio4
			027c 0041
			027d 0041
			0045 0080
			0046 0007
			004b 0038
			004c 0004
			0053 0064
			022b 0062
			022c 0027
			022d 002e
			0274 0030
			0275 0020
			0296 0004
			0297 000d
			02b2 00c8
			02b4 0001
			02b8 00ff
			02b9 000f
			02ba 00ff
			02bb 000f
			02be 00ff
			02bf 001f
			02c2 00ff
			02c3 001f
			0396 0004
			0397 000d
			03b2 00c8
			03b4 0001
			03b8 00ff
			03b9 000f
			03ba 00ff
			03bb 000f
			03be 00ff
			03bf 001f
			03c2 00ff
			03c3 001f
			0060 0001
			0061 0003
			022e 0080
			032e 0080
			/* TL82 Pattern Gen Set 1
			 * Horizontal Gray Scale 256 steps
			 */
			040A 0010
			040B 0080
			040C 0080
			040D 0080
			0444 0019
			0445 0020
			0446 001f
		];

		ports {
			#address-cells = <1>;
			#size-cells = <0>;

			port@0 {
				reg = <0>;

				i2c7_bu18tl82_in_edp1: endpoint {
					remote-endpoint = <&edp1_out_i2c7_bu18tl82>;
				};
			};

			port@1 {
				reg = <1>;

				i2c7_bu18tl82_out_i2c7_bu18rl82: endpoint {
					remote-endpoint = <&i2c7_bu18rl82_in_i2c7_bu18tl82>;
				};
			};
		};
	};

	bu18rl82@30 {
		compatible = "rohm,bu18rl82";
		reg = <0x30>;
		status = "okay";
		serdes-init-sequence = [
			0011 000b
			0012 0003
			0013 0001
			001d 0008
			001f 0002
			0020 0002
			0031 0041	//i2c addr 0x41
			0032 0041	//i2c addr 0x41
			0057 0000	//rl gpio0 output	lcd_bl_pwm
			0058 0002	//bypass ser gpio0
			005a 0000	//rl gpio1 output	lcd_pwr_en
			005b 0001	//bypass ser gpio1
			005d 0000	//rl gpio2 output	lcd_rst
			005e 0004	//bypass ser gpio2
			0060 0018	//rl gpio3 input	tp-int
			042e 0005	//bypass ser gpio3
			0061 0005	//bypass ser gpio3
			0063 0000	//rl gpio4 output	tp-rst
			0064 0006	//bypass ser gpio4
			0066 0000	//rl gpio5 output
			0067 0007	//bypass ser gpio5
			0073 0080
			0074 0007
			0079 000a
			007b 0038
			007c 0004
			0081 0003
			0082 0010
			0084 0020
			0086 0002
			0087 0002
			0088 0010
			0089 0010
			008b 0020
			008d 0002
			008e 0002
			008f 0010
			00d0 0040
			00d8 0042
			00d9 0004
			0423 0002
			0424 00ec
			0425 0027
			0429 000a
			045d 0001
			0529 000a
			055d 0003
			0090 0001
			0091 0003
			0426 0080
			042d 0004
			/* RL82 Pattern Gen Set
			 * Vertical Gray Scale Color Bar
			 */
			060A 00B0
			060B 00FF
			060C 00FF
			060D 00FF
			0644 0019
			0645 0020
			0646 001f
		];

		ports {
			#address-cells = <1>;
			#size-cells = <0>;

			port@0 {
				reg = <0>;

				i2c7_bu18rl82_in_i2c7_bu18tl82: endpoint {
					remote-endpoint = <&i2c7_bu18tl82_out_i2c7_bu18rl82>;
				};
			};

			port@1 {
				reg = <1>;

				i2c7_bu18rl82_out_panel1: endpoint {
					remote-endpoint = <&panel1_in_i2c7_bu18rl82>;
				};
			};
		};
	};

	lt7911d@2b {
		compatible = "lontium,lt7911d-fb-notifier";
		reg = <0x2b>;
		reset-gpios = <&gpio4 RK_PA7 GPIO_ACTIVE_LOW>;
		status = "okay";
	};
};

&i2c8 {
	pinctrl-names = "default";
	pinctrl-0 = <&i2c8m2_xfer>;
	clock-frequency = <400000>;
	status = "disabled";

	bu18tl82@10 {
		compatible = "rohm,bu18tl82";
		reg = <0x10>;
		status = "okay";

		serdes-init-sequence = [
			0013 001a	//013h[3]1-lane1 enable 013h[3] 1-LVDS Receiver Port-A
			0014 000a	//014h[3]1-lane1 enable 014h[3] 1-LVDS Receiver Port-B
			0021 0008
			0023 0009
			0024 0009
			022b 0038
			022c 0072
			022d 0023	//VPLL=75MHZS
			//022b 00d8
			//022c 0089
			//022d 003d	//VPLL=99MHz (ref26MHz) 4032984*26/1024x1024=99M
			022e 0080
			027c 0048
			027d 0048	//i2c addr 0x48
			0296 0004
			0297 0009	//CLLTX0_PLL_GAIN 397h[3:2] 1001 2'b10: 1.2~2.3 Gbps/lane
			//0297 000d	//CLLTX0_PLL_GAIN 297h[3:2] 1101 2'b11: 2.2~3.6 Gbps/lane
			0018 00a5
			0019 0069
			0267 003d
			0268 002c
			0269 002c
			026a 002c
			026b 002c
			0367 003d
			0368 002c
			0369 002c
			036a 002c
			036b 002c
			0018 0000
			0019 0000
			002a 0018	//gpio0 input		lcd_bl_pwm
			002d 0018	//gpio1 input		lcd_pwr_en

			0030 0018	//gpio2 input		lcd_rst
			0033 0018	//gpio3 input		tp_rst
			0034 0005	//bypass des gpio3
			0036 0000	//gpio4 output		tp_int
			0037 0006	//bypass des gpio4

			02a7 0002
			02a8 0003
			02a9 0004
			02aa 0005
			0045 0080
			0046 0007	//1920
			004b 00d0
			004c 0002	//720
			004d 00d0
			004e 0002	//720
			0051 0080
			0052 0007	//1920
			0053 0064	//0053h[6]1:2 Rx ports CLLCH2_EN 53h[5] 1:2 Clock Tx lanes
			024d 0061
			0252 0005
			0274 0030
			0275 0020
			0396 0004
			0397 0009	//CLLTX0_PLL_GAIN 397h[3:2] 1001 2'b10: 1.2~2.3 Gbps/lane
			//0397 000d	//CLLTX0_PLL_GAIN 397h[3:2] 1101 2'b11: 2.2~3.6 Gbps/lane
			0061 0003	//CLLTX0 enable CLLTX1 enable
			0060 0003	//CLLTX0/1 RGB data output Enable
			/* TL82 Pattern Gen Set 1
			 * Horizontal Gray Scale 256 steps
			 */
			040A 0010
			040B 0080
			040C 0080
			040D 0080
			0444 0090	//h_blank=144
			0446 00d2	//v_blank=210
		];

		ports {
			#address-cells = <1>;
			#size-cells = <0>;

			port@0 {
				reg = <0>;

				i2c8_bu18tl82_in_dp1: endpoint {
					remote-endpoint = <&dp1_out_i2c8_bu18tl82>;
				};
			};

			port@1 {
				reg = <1>;

				i2c8_bu18tl82_out_i2c8_bu18rl82: endpoint {
					remote-endpoint = <&i2c8_bu18rl82_in_i2c8_bu18tl82>;
				};
			};
		};
	};

	bu18rl82@30 {
		compatible = "rohm,bu18rl82";
		reg = <0x30>;
		status = "okay";
		serdes-init-sequence = [
			0011 0003	//Clockless Link Receiver Lane-0+ LVDS portA
			0012 0003	//Clockless Link Receiver Lane-1+ LVDS portB
			0013 0000
			001d 0008
			001f 0002	//LVDSTX0_REFSEL
			0020 0002	//LVDSTX1_REFSEL
			0031 0048
			0032 0048	//i2c addr 0x48
			0423 0000
			0424 0000
			0425 0020
			0426 0080
			0057 0000
			0058 0002
			0057 0000	//rl gpio0 output	lcd_bl_pwm
			0058 0002	//bypass ser gpio0
			005a 0000	//rl gpio1 output	lcd_pwr_en
			005b 0003	//bypass ser gpio1
			005d 0000	//rl gpio2 output	lcd_rst
			005e 0004	//bypass ser gpio2
			0060 0000	//rl gpio3 output	tp-rst
			0061 0005	//bypass ser gpio3
			0063 0018	//rl gpio4 input	tp-int
			0064 0006	//bypass ser gpio4
			0066 0000	//rl gpio5 output
			0067 0001	//set gpio5 high

			0073 0080
			0074 0007	//0x0780 = 1920
			0075 0080
			0076 0007	//0x0780 = 1920
			0079 000a	//h[3]: dual lvds mode h[1] single lane / dual lane
			007b 00d0
			007c 0002	//0x02d0 = 720
			007d 00d0
			007e 0002	//0x02d0 = 720
			0081 0003	//01---> Sync OFF
			0082 0010	//Hsync=16clk
			0084 001c	//HBP=28clk
			0086 0002	//Vsync=2lines
			0087 0008	//VBP=8lines
			0088 0000	//VSYNC_CHG=0CLK
			0089 0010	//Hsync = 16?
			008b 001c	//HFP=28clk?
			008d 0002	//Vsync=2lines?
			008e 0008	//VFP=8line?
			008f 0000	//VSYNC_CHG=0CLK?
			00d0 0040	//[3]FixHtotalEN
			00d8 00c0
			00d9 0003	//DE=960
			0429 000a	//LVDSTX0_PLLGAIN 2'b10: 30 MHz ~ 80 MHz
			045d 0001
			0529 000a	//LVDSTX1_PLLGAIN 2'b10: 30 MHz ~ 80 MHz
			055d 0001
			0091 0003
			0090 0001
			/* RL82 Pattern Gen Set
			 * Vertical Gray Scale Color Bar
			 */
			060A 00B0
			060B 00FF
			060C 00FF
			060D 00FF
			0644 0090
			0646 00d2
		];

		ports {
			#address-cells = <1>;
			#size-cells = <0>;

			port@0 {
				reg = <0>;

				i2c8_bu18rl82_in_i2c8_bu18tl82: endpoint {
					remote-endpoint = <&i2c8_bu18tl82_out_i2c8_bu18rl82>;
				};
			};

			port@1 {
				reg = <1>;

				i2c8_bu18rl82_out_panel1: endpoint {
					remote-endpoint = <&panel1_in_i2c8_bu18rl82>;
				};
			};
		};
	};

	lt7911d@2b {
		compatible = "lontium,lt7911d-fb-notifier";
		reg = <0x2b>;
		reset-gpios = <&gpio3 RK_PD2 GPIO_ACTIVE_LOW>;
		status = "okay";
	};
};

&mipi_dcphy0 {
	status = "okay";
};

&mipi_dcphy1 {
	status = "okay";
};


&pinctrl {

	bl {
		bl0_enable_pin: bl0-enable-pin {
			rockchip,pins =
				<1 RK_PA7 RK_FUNC_GPIO &pcfg_pull_none>,
				<4 RK_PD2 RK_FUNC_GPIO &pcfg_pull_none>,
				<4 RK_PD3 RK_FUNC_GPIO &pcfg_pull_none>;

		};

		bl1_enable_pin: bl1-enable-pin {
			rockchip,pins = <1 RK_PB6 RK_FUNC_GPIO &pcfg_pull_none>;
		};

		bl2_enable_pin: bl2-enable-pin {
			rockchip,pins = <3 RK_PC4 RK_FUNC_GPIO &pcfg_pull_none>;
		};

		bl3_enable_pin: bl3-enable-pin {
			rockchip,pins = <3 RK_PC6 RK_FUNC_GPIO &pcfg_pull_none>;
		};

		bl4_enable_pin: bl4-enable-pin {
			rockchip,pins = <0 RK_PD5 RK_FUNC_GPIO &pcfg_pull_none>;
		};

		bl5_enable_pin: bl5-enable-pin {
			rockchip,pins = <1 RK_PA6 RK_FUNC_GPIO &pcfg_pull_none>;
		};
	};

	serdes {
		//dsi0
		ser0_rst_pin: ser0-rst-pin {
			rockchip,pins = <1 RK_PA4 RK_FUNC_GPIO &pcfg_pull_none>;
		};

		//dsi1
		ser1_rst_pin: ser1-rst-pin {
			rockchip,pins = <1 RK_PA5 RK_FUNC_GPIO &pcfg_pull_none>;
		};
	};

	touch {
		//dsi0-i2c2
		touch_gpio_dsi0: touch-gpio-dsi0 {
			rockchip,pins =
				//<1 RK_PB2 RK_FUNC_GPIO &pcfg_pull_up>,  //INT
				<1 RK_PB0 RK_FUNC_GPIO &pcfg_pull_up>;  //RST
		};
		//dsi1-i2c6
		touch_gpio_dsi1: touch-gpio-dsi1 {
			rockchip,pins =
				<1 RK_PB1 RK_FUNC_GPIO &pcfg_pull_up>,  //INT
				<1 RK_PB7 RK_FUNC_GPIO &pcfg_pull_up>;  //RST
		};
		//dp0-i2c4
		touch_gpio_dp0: touch-gpio-dp0 {
			rockchip,pins = <0 RK_PC0 RK_FUNC_GPIO &pcfg_pull_up>;
		};
		//edp0-i2c5
		touch_gpio_edp0: touch-gpio-edp0 {
			rockchip,pins =
				<0 RK_PD1 RK_FUNC_GPIO &pcfg_pull_up>,  //INT
				<0 RK_PD4 RK_FUNC_GPIO &pcfg_pull_up>;  //RST
		};
	};
};

/* dsi0->serdes->lvds_panel */
&pwm0 {
	status = "okay";
	pinctrl-0 = <&pwm0m2_pins>;
};

/* dp0->serdes->lvds_panel */
&pwm10 {
	pinctrl-0 = <&pwm10m2_pins>;
	status = "okay";
};

/* edp1->serdes->lvds_panel */
&pwm11 {
	pinctrl-0 = <&pwm11m3_pins>;
	status = "okay";
};

/* edp0->serdes->lvds_panel */
&pwm7 {
	pinctrl-0 = <&pwm7m0_pins>;
	status = "okay";
};

/* dsi1->serdes->lvds_panel */
&pwm13 {
	status = "okay";
	pinctrl-0 = <&pwm13m1_pins>;
};

/* dp1->serdes->lvds_panel */
&pwm14 {
	pinctrl-0 = <&pwm14m0_pins>;
	status = "okay";
};

&route_dp0 {
	status = "disabled";
	connect = <&vp0_out_dp0>;
	logo,uboot = "logo34.bmp";
	logo,kernel = "logo34.bmp";
};

&route_dp1 {
	status = "disabled";
	connect = <&vp0_out_dp1>;
	logo,uboot = "logo34.bmp";
	logo,kernel = "logo34.bmp";
};

&route_dsi0 {
	status = "okay";
	connect = <&vp2_out_dsi0>;
	logo,uboot = "logo1.bmp";
	logo,kernel = "logo1.bmp";
};

&route_dsi1 {
	status = "okay";
	connect = <&vp3_out_dsi1>;
	logo,uboot = "logo2.bmp";
	logo,kernel = "logo2.bmp";
};

&route_edp0 {
	status = "disabled";
	connect = <&vp1_out_edp0>;
	logo,uboot = "logo56.bmp";
	logo,kernel = "logo56.bmp";
};

&route_edp1 {
	status = "disabled";
	connect = <&vp1_out_edp1>;
	logo,uboot = "logo56.bmp";
	logo,kernel = "logo56.bmp";
};

&usbdp_phy0 {
	rockchip,dp-lane-mux = <0 1 2 3>;
	status = "okay";
};

&usbdp_phy1 {
	rockchip,dp-lane-mux = <0 1 2 3>;
	status = "okay";
};

&vop {
	assigned-clocks = <&cru PLL_V0PLL>;
	assigned-clock-rates = <1152000000>;
};

&vp0 {
	assigned-clocks = <&cru DCLK_VOP0_SRC>;
	assigned-clock-parents = <&cru PLL_V0PLL>;
};

&vp1 {
	assigned-clocks = <&cru DCLK_VOP1_SRC>;
	assigned-clock-parents = <&cru PLL_GPLL>;
};

&vp2 {
	assigned-clocks = <&cru DCLK_VOP2_SRC>;
	assigned-clock-parents = <&cru PLL_V0PLL>;
};

&vp3 {
	assigned-clocks = <&cru DCLK_VOP3>;
	assigned-clock-parents = <&cru PLL_V0PLL>;
};
